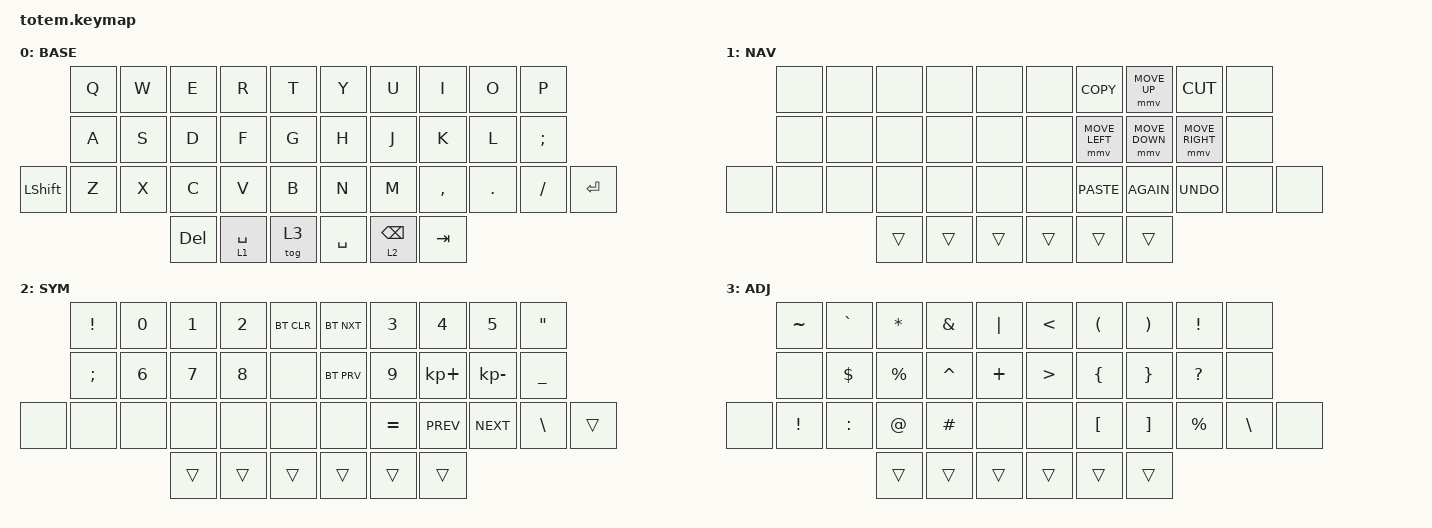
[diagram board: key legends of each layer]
//
//                                                        ▀▀▀▀▀     ▀▀▀▀▀          ▀▀█▀▀
//                                                        ▄▀▀▀▄  ▄  ▄▀▀▀▄  ▄  ▄▀▀▀▄  █  ▄▀▀▀▄
//                                                        █   █  █  █   █  █  █   █  █  █   █
//                                                         ▀▀▀   █   ▀▀▀   █   ▀▀▀   ▀   ▀▀▀
//                                                               █      ▄▄▄█▄▄▄    █   █  
//                                                               ▀      █  █  █     █▄█
//                                                             ▀▀▀▀▀    █  █  █      ▀
//                                                                      ▀  ▀  ▀
//
// ▄▄▄▄▄▄▄▄▄▄▄▄▄▄▄▄▄▄▄▄▄▄▄▄▄▄▄▄▄▄▄▄▄▄▄▄▄▄▄▄▄▄▄▄▄▄▄▄▄▄▄▄▄▄▄▄▄▄▄▄▄▄▄▄▄▄▄▄▄▄▄▄▄▄▄▄▄▄▄▄▄▄▄▄▄▄▄▄▄▄▄▄▄▄▄▄▄▄▄▄▄▄▄▄▄▄▄▄▄▄▄▄▄▄▄▄▄▄▄▄▄▄▄▄▄▄▄▄▄▄▄▄▄▄▄▄▄▄▄▄▄▄▄▄▄▄▄▄▄

#include <behaviors.dtsi>
#include <dt-bindings/zmk/bt.h>
#include <dt-bindings/zmk/keys.h>

#define BASE 0
#define NAV  1
#define SYM  2
#define ADJ  3

&mt {
    quick-tap-ms = <100>;
    global-quick-tap;
    flavor = "tap-preferred";
    tapping-term-ms = <170>;
};

/ {
    combos {
        compatible = "zmk,combos";

        combo_v {
            timeout-ms = <50>;
            key-positions = <24 23>;
            bindings = <&kp V>;
        };

        combo_k {
            timeout-ms = <50>;
            key-positions = <27 28>;
            bindings = <&kp K>;
        };

        combo_m {
            bindings = <&kp M>;
            key-positions = <6 7>;
        };

        combo_j {
            bindings = <&kp J>;
            key-positions = <6 8>;
        };

        combo-g {
            bindings = <&kp G>;
            key-positions = <3 2>;
        };

        combo-b {
            bindings = <&kp B>;
            key-positions = <1 3>;
        };
    };

    behaviors {
        hm_l: homerow_mods_left {
            compatible = "zmk,behavior-hold-tap";
            label = "HOMEROW_MODS_L";
            #binding-cells = <2>;
            tapping-term-ms = <300>;
            quick-tap-ms = <250>;
            flavor = "tap-preferred";
            bindings = <&kp>, <&kp>;

            hold-trigger-key-positions = <5 6 7 8 9 15 16 17 18 19 10 11 12 13 26 27 28 29 30 31>;// right hand
        };

        hm_r: homerow_mods_right {
            compatible = "zmk,behavior-hold-tap";
            label = "HOMEROW_MODS_R";
            #binding-cells = <2>;
            tapping-term-ms = <300>;
            quick-tap-ms = <250>;
            flavor = "tap-preferred";
            bindings = <&kp>, <&kp>;

            hold-trigger-key-positions = <0 1 2 3 4 10 11 12 13 14 20 21 22 23 24 25>;// left hand
        };
    };

    macros {
        gif: gif {
            label = "giphy";
            compatible = "zmk,behavior-macro";
            #binding-cells = <0>;
            bindings =
                <&macro_press>,
                <&kp LSHFT>,
                <&macro_tap>,
                <&kp N2>,
                <&macro_release>,
                <&kp LSHFT>,
                <&macro_tap>,
                <&kp G &kp I &kp F>;
        };
    };

    keymap {
        compatible = "zmk,keymap";

        // ▄▄▄▄▄▄▄▄▄▄▄▄▄▄▄▄▄▄▄▄▄▄▄▄▄▄▄▄▄▄▄▄▄▄▄▄▄▄▄▄▄▄▄▄▄▄▄▄▄▄▄▄▄▄▄▄▄▄▄▄▄▄▄▄▄▄▄▄▄▄▄▄▄▄▄▄▄▄▄▄▄▄▄▄▄▄▄▄▄▄▄▄▄▄▄▄▄▄▄▄▄▄▄▄▄▄▄▄▄▄▄▄▄▄▄▄▄▄▄▄▄▄▄▄▄▄▄▄▄▄▄▄▄▄▄▄▄▄▄▄▄▄▄▄▄▄▄▄▄

        base_layer {
            // ┏━━━━━━━━━━━━━━━━━━━━━━━━━━━━━━━━━━━━━━━┓

            label = "BASE";

            // ┗━━━━━━━━━━━━━━━━━━━━━━━━━━━━━━━━━━━━━━━┛
            //             ┏━━━━━━━━━━━┳━━━━━━━━━━━┳━━━━━━━━━━━┳━━━━━━━━━━━┳━━━━━━━━━━━┓   ┏━━━━━━━━━━━┳━━━━━━━━━━━┳━━━━━━━━━━━┳━━━━━━━━━━━┳━━━━━━━━━━━┓
            //             ┃     Q     ┃     W     ┃     F     ┃     P     ┃     G     ┃   ┃     J     ┃     L     ┃     U     ┃     Y     ┃     ;     ┃
            //             ┣━━━━━━━━━━━╋━━━━━━━━━━━╋━━━━━━━━━━━╋━━━━━━━━━━━╋━━━━━━━━━━━┫   ┣━━━━━━━━━━━╋━━━━━━━━━━━╋━━━━━━━━━━━╋━━━━━━━━━━━╋━━━━━━━━━━━┫
            //             ┃     A     ┃     R     ┃     S     ┃     T     ┃     D     ┃   ┃     H     ┃     N     ┃     E     ┃     I     ┃     O     ┃
            // ┏━━━━━━━━━━━╋━━━━━━━━━━━╋━━━━━━━━━━━╋━━━━━━━━━━━╋━━━━━━━━━━━╋━━━━━━━━━━━┫   ┣━━━━━━━━━━━╋━━━━━━━━━━━╋━━━━━━━━━━━╋━━━━━━━━━━━╋━━━━━━━━━━━╋━━━━━━━━━━━┓
            // ┃     Q     ┃     Z     ┃     X     ┃     C     ┃     V     ┃     B     ┃   ┃     K     ┃     M     ┃     ,     ┃     .     ┃     /     ┃     \     ┃
            // ┗━━━━━━━━━━━┻━━━━━━━━━━━┻━━━━━━━━━━━╋━━━━━━━━━━━╋━━━━━━━━━━━╋━━━━━━━━━━━┫   ┣━━━━━━━━━━━╋━━━━━━━━━━━╋━━━━━━━━━━━╋━━━━━━━━━━━┻━━━━━━━━━━━┻━━━━━━━━━━━┛
            //                                     ┃    DEL    ┃    TAB    ┃    SPC    ┃   ┃   ENTER   ┃           ┃   BSPC    ┃
            //                                     ┗━━━━━━━━━━━┻━━━━━━━━━━━┻━━━━━━━━━━━┛   ┗━━━━━━━━━━━┻━━━━━━━━━━━┻━━━━━━━━━━━┛

            bindings = <
           &kp Q  &kp W  &kp E    &kp R        &kp T     &kp Y      &kp U            &kp I      &kp O    &kp P
           &kp A  &kp S  &kp D    &kp F        &kp G     &kp H      &kp J            &kp K      &kp L    &kp SEMI
&kp LSHFT  &kp Z  &kp X  &kp C    &kp V        &kp B     &kp N      &kp M            &kp COMMA  &kp DOT  &kp FSLH  &kp RET
                         &kp DEL  &lt 1 SPACE  &tog 3    &kp SPACE  &lt 2 BACKSPACE  &kp TAB
            >;
        };

        nav_layer {
            // ┏━━━━━━━━━━━━━━━━━━━━━━━━━━━━━━━━━━━━━━━┓

            label = "NAV";

            // ┗━━━━━━━━━━━━━━━━━━━━━━━━━━━━━━━━━━━━━━━┛
            //             ┏━━━━━━━━━━━┳━━━━━━━━━━━┳━━━━━━━━━━━┳━━━━━━━━━━━┳━━━━━━━━━━━┓   ┏━━━━━━━━━━━┳━━━━━━━━━━━┳━━━━━━━━━━━┳━━━━━━━━━━━┳━━━━━━━━━━━┓
            //             ┃           ┃           ┃     UP    ┃           ┃     {     ┃   ┃     }     ┃     7     ┃     8     ┃     9     ┃     +     ┃
            //             ┣━━━━━━━━━━━╋━━━━━━━━━━━╋━━━━━━━━━━━╋━━━━━━━━━━━╋━━━━━━━━━━━┫   ┣━━━━━━━━━━━╋━━━━━━━━━━━╋━━━━━━━━━━━╋━━━━━━━━━━━╋━━━━━━━━━━━┫
            //             ┃   SHIFT   ┃   LEFT    ┃    DOWN   ┃   RIGHT   ┃     [     ┃   ┃     ]     ┃     4     ┃     5     ┃     6     ┃     -     ┃
            // ┏━━━━━━━━━━━╋━━━━━━━━━━━╋━━━━━━━━━━━╋━━━━━━━━━━━╋━━━━━━━━━━━╋━━━━━━━━━━━┫   ┣━━━━━━━━━━━╋━━━━━━━━━━━╋━━━━━━━━━━━╋━━━━━━━━━━━╋━━━━━━━━━━━╋━━━━━━━━━━━┓
            // ┃           ┃           ┃   P UP    ┃  C LOCK   ┃  P DOWN   ┃     (     ┃   ┃     )     ┃     1     ┃     2     ┃     3     ┃     *     ┃           ┃
            // ┗━━━━━━━━━━━┻━━━━━━━━━━━┻━━━━━━━━━━━╋━━━━━━━━━━━╋━━━━━━━━━━━╋━━━━━━━━━━━┫   ┣━━━━━━━━━━━╋━━━━━━━━━━━╋━━━━━━━━━━━╋━━━━━━━━━━━┻━━━━━━━━━━━┻━━━━━━━━━━━┛
            //                                     ┃           ┃    TAB    ┃    SPC    ┃   ┃    DEL    ┃     0     ┃           ┃
            //                                     ┗━━━━━━━━━━━┻━━━━━━━━━━━┻━━━━━━━━━━━┛   ┗━━━━━━━━━━━┻━━━━━━━━━━━┻━━━━━━━━━━━┛

            bindings = <
       &none  &none  &none   &none   &none     &none   &kp K_COPY      &mmv MOVE_UP    &kp K_CUT        &none
       &none  &none  &none   &none   &none     &none   &mmv MOVE_LEFT  &mmv MOVE_DOWN  &mmv MOVE_RIGHT  &none
&none  &none  &none  &none   &none   &none     &none   &kp K_PASTE     &kp K_AGAIN     &kp K_UNDO       &none  &none
                     &trans  &trans  &trans    &trans  &trans          &trans
            >;
        };

        sim_layer {
            // ┏━━━━━━━━━━━━━━━━━━━━━━━━━━━━━━━━━━━━━━━┓

            label = "SYM";

            // ┗━━━━━━━━━━━━━━━━━━━━━━━━━━━━━━━━━━━━━━━┛
            //             ┏━━━━━━━━━━━┳━━━━━━━━━━━┳━━━━━━━━━━━┳━━━━━━━━━━━┳━━━━━━━━━━━┓   ┏━━━━━━━━━━━┳━━━━━━━━━━━┳━━━━━━━━━━━┳━━━━━━━━━━━┳━━━━━━━━━━━┓
            //             ┃     !     ┃     @     ┃     #     ┃     $     ┃     %     ┃   ┃     ˆ     ┃     &     ┃     Ü     ┃     '     ┃     "     ┃
            //             ┣━━━━━━━━━━━╋━━━━━━━━━━━╋━━━━━━━━━━━╋━━━━━━━━━━━╋━━━━━━━━━━━┫   ┣━━━━━━━━━━━╋━━━━━━━━━━━╋━━━━━━━━━━━╋━━━━━━━━━━━╋━━━━━━━━━━━┫
            //             ┃     Ä     ┃           ┃    SZ     ┃           ┃           ┃   ┃   MUTE    ┃   YEN     ┃   EURO    ┃  POUND    ┃     Ö     ┃
            // ┏━━━━━━━━━━━╋━━━━━━━━━━━╋━━━━━━━━━━━╋━━━━━━━━━━━╋━━━━━━━━━━━╋━━━━━━━━━━━┫   ┣━━━━━━━━━━━╋━━━━━━━━━━━╋━━━━━━━━━━━╋━━━━━━━━━━━╋━━━━━━━━━━━╋━━━━━━━━━━━┓
            // ┃           ┃  EMAIL1   ┃  EMAIL2   ┃           ┃           ┃           ┃   ┃   VOL-    ┃   VOL+    ┃   LAST    ┃   NEXT    ┃     \     ┃           ┃
            // ┗━━━━━━━━━━━┻━━━━━━━━━━━┻━━━━━━━━━━━╋━━━━━━━━━━━╋━━━━━━━━━━━╋━━━━━━━━━━━┫   ┣━━━━━━━━━━━╋━━━━━━━━━━━╋━━━━━━━━━━━╋━━━━━━━━━━━┻━━━━━━━━━━━┻━━━━━━━━━━━┛
            //                                     ┃           ┃    GIF    ┃    ADJ    ┃   ┃           ┃           ┃           ┃
            //                                     ┗━━━━━━━━━━━┻━━━━━━━━━━━┻━━━━━━━━━━━┛   ┗━━━━━━━━━━━┻━━━━━━━━━━━┻━━━━━━━━━━━┛

            bindings = <
       &kp EXCL  &kp NUMBER_0  &kp NUMBER_1  &kp NUMBER_2  &bt BT_CLR    &bt BT_NXT  &kp NUMBER_3  &kp NUMBER_4  &kp NUMBER_5  &kp DQT
       &kp SEMI  &kp NUMBER_6  &kp NUMBER_7  &kp NUMBER_8  &none         &bt BT_PRV  &kp NUMBER_9  &kp KP_PLUS   &kp KP_MINUS  &kp UNDERSCORE
&none  &none     &none         &none         &none         &none         &none       &kp EQUAL     &kp C_PREV    &kp C_NEXT    &kp BSLH        &trans
                               &trans        &trans        &trans        &trans      &trans        &trans
            >;
        };

        adjust_layer {
            // ┏━━━━━━━━━━━━━━━━━━━━━━━━━━━━━━━━━━━━━━━┓

            label = "ADJ";

            // ┗━━━━━━━━━━━━━━━━━━━━━━━━━━━━━━━━━━━━━━━┛
            //             ┏━━━━━━━━━━━┳━━━━━━━━━━━┳━━━━━━━━━━━┳━━━━━━━━━━━┳━━━━━━━━━━━┓   ┏━━━━━━━━━━━┳━━━━━━━━━━━┳━━━━━━━━━━━┳━━━━━━━━━━━┳━━━━━━━━━━━┓
            //             ┃   RESET   ┃ BT CLEAR  ┃  OUT TOG  ┃           ┃           ┃   ┃           ┃    F7     ┃    F8     ┃    F9     ┃    F12    ┃
            //             ┣━━━━━━━━━━━╋━━━━━━━━━━━╋━━━━━━━━━━━╋━━━━━━━━━━━╋━━━━━━━━━━━┫   ┣━━━━━━━━━━━╋━━━━━━━━━━━╋━━━━━━━━━━━╋━━━━━━━━━━━╋━━━━━━━━━━━┫
            //             ┃ BOOTLOAD  ┃ BT NEXT   ┃           ┃           ┃           ┃   ┃           ┃    F4     ┃    F5     ┃    F6     ┃    F11    ┃
            // ┏━━━━━━━━━━━╋━━━━━━━━━━━╋━━━━━━━━━━━╋━━━━━━━━━━━╋━━━━━━━━━━━╋━━━━━━━━━━━┫   ┣━━━━━━━━━━━╋━━━━━━━━━━━╋━━━━━━━━━━━╋━━━━━━━━━━━╋━━━━━━━━━━━╋━━━━━━━━━━━┓
            // ┃           ┃           ┃ BT PREV   ┃           ┃           ┃           ┃   ┃           ┃    F1     ┃    F2     ┃    F3     ┃    F10    ┃           ┃
            // ┗━━━━━━━━━━━┻━━━━━━━━━━━┻━━━━━━━━━━━╋━━━━━━━━━━━╋━━━━━━━━━━━╋━━━━━━━━━━━┫   ┣━━━━━━━━━━━╋━━━━━━━━━━━╋━━━━━━━━━━━╋━━━━━━━━━━━┻━━━━━━━━━━━┻━━━━━━━━━━━┛
            //                                     ┃           ┃           ┃           ┃   ┃           ┃           ┃           ┃
            //                                     ┗━━━━━━━━━━━┻━━━━━━━━━━━┻━━━━━━━━━━━┛   ┗━━━━━━━━━━━┻━━━━━━━━━━━┻━━━━━━━━━━━┛

            bindings = <
       &kp TILDE        &kp GRAVE   &kp ASTERISK  &kp AMPERSAND  &kp PIPE    &kp LESS_THAN     &kp LEFT_PARENTHESIS  &kp RIGHT_PARENTHESIS  &kp EXCLAMATION  &none
       &none            &kp DOLLAR  &kp PERCENT   &kp CARET      &kp PLUS    &kp GREATER_THAN  &kp LEFT_BRACE        &kp RIGHT_BRACE        &kp QUESTION     &none
&none  &kp EXCLAMATION  &kp COLON   &kp AT_SIGN   &kp HASH       &none       &none             &kp LEFT_BRACKET      &kp RIGHT_BRACKET      &kp PERCENT      &kp BACKSLASH  &none
                                    &trans        &trans         &trans      &trans            &trans                &trans
            >;
        };

        // ▄▄▄▄▄▄▄▄▄▄▄▄▄▄▄▄▄▄▄▄▄▄▄▄▄▄▄▄▄▄▄▄▄▄▄▄▄▄▄▄▄▄▄▄▄▄▄▄▄▄▄▄▄▄▄▄▄▄▄▄▄▄▄▄▄▄▄▄▄▄▄▄▄▄▄▄▄▄▄▄▄▄▄▄▄▄▄▄▄▄▄▄▄▄▄▄▄▄▄▄▄▄▄▄▄▄▄▄▄▄▄▄▄▄▄▄▄▄▄▄▄▄▄▄▄▄▄▄▄▄▄▄▄▄▄▄▄▄▄▄▄▄▄▄▄▄▄▄▄
        // ▄▄▄▄▄▄▄▄▄▄▄▄▄▄▄▄▄▄▄▄▄▄▄▄▄▄▄▄▄▄▄▄▄▄▄▄▄▄▄▄▄▄▄▄▄▄▄▄▄▄▄▄▄▄▄▄▄▄▄▄▄▄▄▄▄▄▄▄▄▄▄▄▄▄▄▄▄▄▄▄▄▄▄▄▄▄▄▄▄▄▄▄▄▄▄▄▄▄▄▄▄▄▄▄▄▄▄▄▄▄▄▄▄▄▄▄▄▄▄▄▄▄▄▄▄▄▄▄▄▄▄▄▄▄▄▄▄▄▄▄▄▄▄▄▄▄▄▄▄
    };
};
